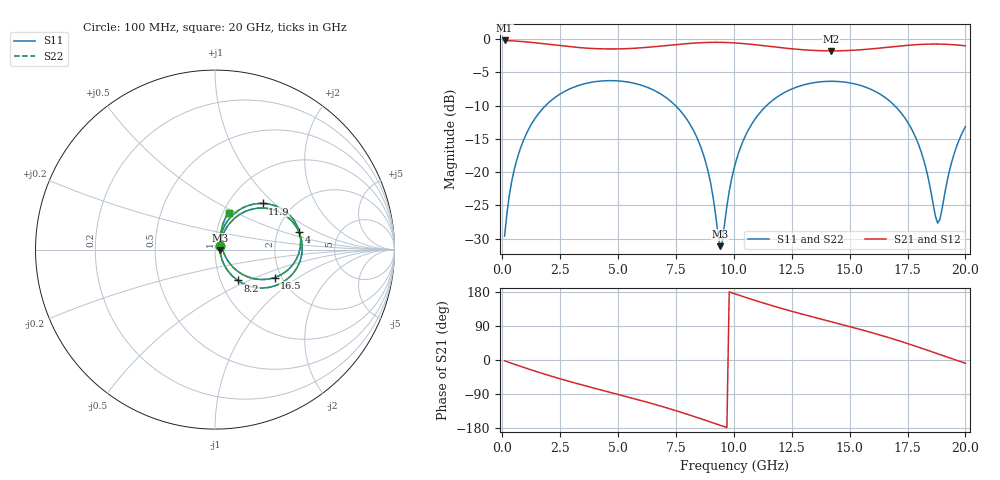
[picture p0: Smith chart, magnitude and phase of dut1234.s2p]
! Touchstone file exported from HFSS 2026.1.0
!  File:  C:/ffzhzh/LocalFiles/Ansys_Project_Files/temp_train_TSV_RDL_1234_1783323063_38820.aedt
!  Generated:  03:44:36 PM Jul  6, 2026
!  Design:  TSV_RDL
!  Project:  temp_train_TSV_RDL_1234_1783323063_38820
! Variables:
!  h_bsmrdl = 3.5um
!  h_ox = 20um
!  h_rdl = 5um
!  h_sub = 56.68um
!  h_tmrdl = 5.22um
!  h_tsv = 56.68um
!  h_via = 3um
!  l_bsmrdl = 720.86um
!  l_sub = 6430.92um
!  l_tmrdl = 936.2um
!  m_sub = 200um
!  pitch = 41.52um
!  r_tsv = 9.19um
!  s_tmrdl = 10um
!  w_bsmrdl = 25.44um
!  w_sub = 500um
!  w_tmrdl = 15.74um
!  x_tsv_center1 = 944.07um
!  x_tsv_center2 = 1690.37um
!  x_tsv_center3 = 2642.31um
!  x_tsv_center4 = 3388.61um
!  x_tsv_center5 = 4340.55um
!  x_tsv_center6 = 5086.85um
# GHz S MA R 50.000000
! Terminal data exported
! Port[1] = TM_RDL1_1_T1
! Port[2] = TM_RDL5_1_T1
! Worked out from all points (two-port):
!   200 points, 100 MHz to 20 GHz, reference 50 ohm
!   highest |S21| = -0.23 dB at 100 MHz (marker M1); lowest = -1.8 dB at 14.2 GHz (marker M2)
!   |S21| within 3 dB of the highest: start of sweep to end of sweep
!   lowest |S11| = -31.1 dB at 9.4 GHz (marker M3), VSWR 1.06, Z = 52.8 - j0.317 ohm
!   |S11| at or under -10 dB: start of sweep to 1.874 GHz; 7.475 GHz to 11.42 GHz (3.942 GHz wide, 41.7 % of centre); 16.94 GHz to end of sweep
!   |S22| runs from -31.4 to -6.3 dB; largest |S21 - S12| = 1.6e-14
!   S11 on the Smith chart (normalised r, x): 100 MHz: 1.05, +0.04; 4 GHz: 2.62, +0.68; 8.2 GHz: 1.21, -0.44; 11.9 GHz: 1.43, +0.85; 16.5 GHz: 1.84, -0.66; 20 GHz: 1.06, +0.46
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0.1  0.03305 37.1  0.9742 -2.2  0.9742 -2.2  0.03305 37.1
! Gamma 0 0 0 0
! Port Impedance 50 0 50 0
0.5  0.1014 62.4  0.9659 -10.8  0.9659 -10.8  0.1015 62.4
1.1  0.2037 58.1  0.9482 -23.1  0.9482 -23.1  0.2038 58.1
2.1  0.3438 42.3  0.9071 -42.4  0.9071 -42.4  0.3438 42.3
3.5  0.4581 19.8  0.8565 -66.7  0.8565 -66.7  0.4582 19.8
4  0.4772 12.1  0.8464 -74.8  0.8464 -74.8  0.4772 12.1
5.4  0.4752 -9.1  0.846 -97.2  0.846 -97.2  0.4752 -9.2
6.8  0.3899 -31.1  0.8819 -120.9  0.8819 -120.9  0.39 -31.2
8.2  0.2142 -53.4  0.9286 -147.4  0.9286 -147.4  0.2142 -53.6
8.9  0.09901 -58.6  0.9417 -161.7  0.9417 -161.7  0.09889 -59.0
9.4  0.02775 -6.2  0.9429 -172.1  0.9429 -172.1  0.02698 -6.7
10.1  0.1218 68.5  0.932 173.4  0.932 173.4  0.1215 68.9
10.8  0.2331 61.2  0.9095 159.4  0.9095 159.4  0.2329 61.4
11.9  0.3695 44.1  0.8651 138.9  0.8651 138.9  0.3693 44.2
13.4  0.4675 21.1  0.8207 113.7  0.8207 113.7  0.4673 21.2
14.2  0.4807 9.4  0.8136 101.0  0.8136 101.0  0.4806 9.4
16.5  0.3666 -25.1  0.8607 62.6  0.8607 62.6  0.3665 -25.1
16.7  0.3449 -28.2  0.8678 58.9  0.8678 58.9  0.3448 -28.1
17.9  0.1739 -43.7  0.9062 35.4  0.9062 35.4  0.1738 -43.8
18.8  0.04137 9.5  0.9153 16.5  0.9153 16.5  0.041 9.6
19.4  0.1175 71.8  0.907 3.8  0.907 3.8  0.1174 72.0
20  0.2193 69.7  0.8884 -8.6  0.8884 -8.6  0.2193 69.9
